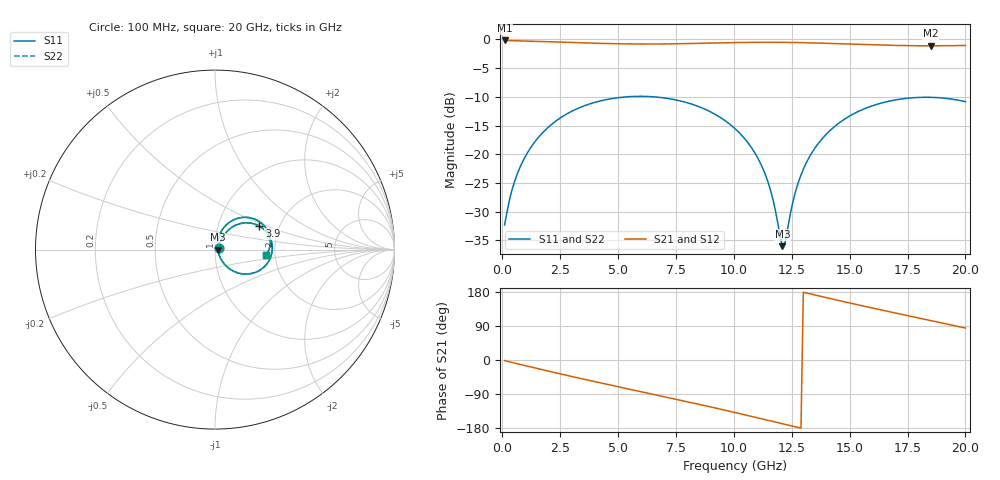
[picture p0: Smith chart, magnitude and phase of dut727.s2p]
! Touchstone file exported from HFSS 2026.1.0
!  File:  C:/ffzhzh/LocalFiles/Ansys_Project_Files/temp_train_TSV_RDL_727_1783202374_51560.aedt
!  Generated:  06:08:35 AM Jul  5, 2026
!  Design:  TSV_RDL
!  Project:  temp_train_TSV_RDL_727_1783202374_51560
! Variables:
!  h_bsmrdl = 3.14um
!  h_ox = 20um
!  h_rdl = 5um
!  h_sub = 96.42um
!  h_tmrdl = 5.03um
!  h_tsv = 96.42um
!  h_via = 3um
!  l_bsmrdl = 830.5um
!  l_sub = 4418.81um
!  l_tmrdl = 355.36um
!  m_sub = 200um
!  pitch = 32.8um
!  r_tsv = 9.05um
!  s_tmrdl = 10um
!  w_bsmrdl = 21.84um
!  w_sub = 500um
!  w_tmrdl = 13.45um
!  x_tsv_center1 = 362.085um
!  x_tsv_center2 = 1214.425um
!  x_tsv_center3 = 1583.235um
!  x_tsv_center4 = 2435.575um
!  x_tsv_center5 = 2804.385um
!  x_tsv_center6 = 3656.725um
# GHz S MA R 50.000000
! Terminal data exported
! Port[1] = TM_RDL1_1_T1
! Port[2] = TM_RDL5_1_T1
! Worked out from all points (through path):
!   200 points, 100 MHz to 20 GHz, reference 50 ohm
!   highest |S21| = -0.19 dB at 100 MHz (marker M1); lowest = -1.1 dB at 18.5 GHz (marker M2)
!   group delay of S21, straight-line fit = 38.3 ps
!   lowest |S11| = -36.0 dB at 12.1 GHz (marker M3), VSWR 1.03, Z = 51.6 - j0.0523 ohm
!   |S11| at or under -10 dB: start of sweep to 5.373 GHz; 6.542 GHz to end of sweep
!   |S22| runs from -35.9 to -9.9 dB; largest |S21 - S12| = 1.9e-14
!   S11 on the Smith chart (normalised r, x): 100 MHz: 1.04, +0.02; 3.9 GHz: 1.58, +0.45; 20 GHz: 1.79, -0.13
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0.1  0.02427 25.1  0.9783 -1.6  0.9783 -1.6  0.02427 25.1
! Gamma 0 0 0 0
! Port Impedance 50 0 50 0
0.5  0.05554 54.5  0.9728 -7.7  0.9728 -7.7  0.05554 54.5
1.2  0.1121 57.2  0.9651 -17.9  0.9651 -17.9  0.1121 57.2
2.2  0.187 48.4  0.9516 -32.3  0.9516 -32.3  0.187 48.4
3.5  0.2622 32.9  0.9322 -50.4  0.9322 -50.4  0.2622 32.9
3.9  0.2793 28.0  0.9268 -55.8  0.9268 -55.8  0.2793 28.0
5.3  0.3154 10.7  0.9138 -74.4  0.9138 -74.4  0.3154 10.7
6.8  0.3128 -7.9  0.9121 -94.1  0.9121 -94.1  0.3128 -7.9
8.5  0.2591 -29.1  0.9235 -116.9  0.9235 -116.9  0.2591 -29.1
10.1  0.1636 -48.6  0.9377 -139.3  0.9377 -139.3  0.1636 -48.6
10.8  0.1112 -55.7  0.9418 -149.3  0.9418 -149.3  0.1112 -55.7
11.3  0.07145 -58.2  0.9431 -156.6  0.9431 -156.6  0.07147 -58.1
11.7  0.03962 -53.2  0.9431 -162.4  0.9431 -162.4  0.03967 -53.1
12.1  0.01587 -1.8  0.942 -168.2  0.942 -168.2  0.01596 -1.8
12.2  0.01667 26.7  0.9415 -169.7  0.9415 -169.7  0.01674 26.6
12.5  0.0347 65.5  0.9398 -174.0  0.9398 -174.0  0.03473 65.4
12.8  0.05807 72.5  0.9376 -178.4  0.9376 -178.4  0.05808 72.4
13.4  0.1054 71.3  0.9316 173.0  0.9316 173.0  0.1054 71.2
14.8  0.2033 56.4  0.9126 153.3  0.9126 153.3  0.2033 56.4
16.7  0.2898 33.4  0.888 127.6  0.888 127.6  0.2898 33.4
18.5  0.3131 11.6  0.879 104.1  0.879 104.1  0.313 11.6
20  0.2871 -6.5  0.8851 84.4  0.8851 84.4  0.287 -6.5
